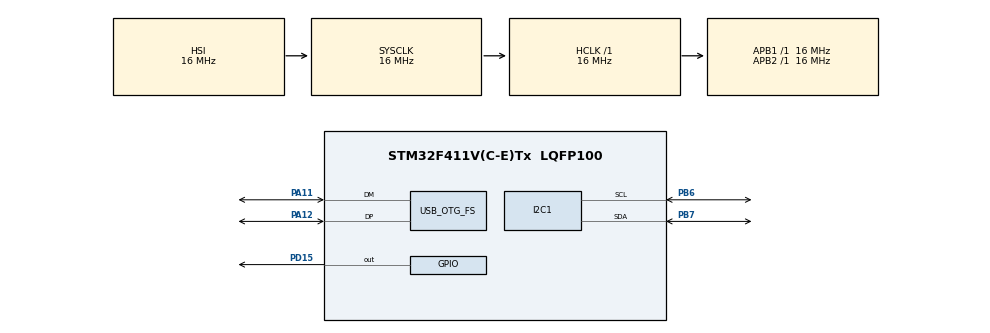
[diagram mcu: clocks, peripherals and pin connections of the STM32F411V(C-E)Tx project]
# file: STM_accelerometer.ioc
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I2C1.DutyCycle=I2C_DUTYCYCLE_16_9
I2C1.I2C_Mode=I2C_Fast
Mcu.Family=STM32F4
Mcu.Name=STM32F411V(C-E)Tx
Mcu.Package=LQFP100
NVIC.OTG_FS_IRQn=true\:0\:0\:false\:false\:true\:false\:true\:true
NVIC.PriorityGroup=NVIC_PRIORITYGROUP_4
PA11.Mode=Device_Only
PA11.Signal=USB_OTG_FS_DM
PA12.Mode=Device_Only
PA12.Signal=USB_OTG_FS_DP
PB6.Mode=I2C
PB6.Signal=I2C1_SCL
PB7.Mode=I2C
PB7.Signal=I2C1_SDA
PC14-OSC32_IN.Mode=LSE-External-Oscillator
PC14-OSC32_IN.Signal=RCC_OSC32_IN
PC15-OSC32_OUT.Mode=LSE-External-Oscillator
PC15-OSC32_OUT.Signal=RCC_OSC32_OUT
PD15.Signal=GPIO_Output
PH0\ -\ OSC_IN.Mode=HSE-External-Oscillator
PH0\ -\ OSC_IN.Signal=RCC_OSC_IN
PH1\ -\ OSC_OUT.Mode=HSE-External-Oscillator
PH1\ -\ OSC_OUT.Signal=RCC_OSC_OUT
ProjectManager.HeapSize=0x200
ProjectManager.StackSize=0x400
ProjectManager.TargetToolchain=STM32CubeIDE
RCC.AHBFreq_Value=16000000
RCC.APB1Freq_Value=16000000
RCC.APB2Freq_Value=16000000
RCC.CortexFreq_Value=16000000
RCC.HSE_VALUE=25000000
RCC.HSI_VALUE=16000000
RCC.PLLSourceVirtualString=RCC_PLLSOURCE_HSI
RCC.SYSCLKFreq_VALUE=16000000
RCC.VCOOutputFreq_Value=192000000
USB_DEVICE.CLASS_NAME_FS=CDC
USB_DEVICE.PRODUCT_STRING_CDC_FS=STM_accelerometer
USB_DEVICE.VirtualMode=Cdc
USB_DEVICE.VirtualModeFS=Cdc_FS
USB_OTG_FS.VirtualMode=Device_Only
VP_USB_DEVICE_VS_USB_DEVICE_CDC_FS.Mode=CDC_FS
board=custom

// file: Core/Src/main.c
/* USER CODE BEGIN Header */
/**
  ******************************************************************************
  * @file           : main.c
  * @brief          : Main program body
  ******************************************************************************
  * @attention
  *
  * Copyright (c) 2024 STMicroelectronics.
  * All rights reserved.
  *
  * This software is licensed under terms that can be found in the LICENSE file
  * in the root directory of this software component.
  * If no LICENSE file comes with this software, it is provided AS-IS.
  *
  ******************************************************************************
  */
/* USER CODE END Header */
#include "main.h"
#include "usb_device.h"

I2C_HandleTypeDef hi2c1;

void SystemClock_Config(void);
static void MX_GPIO_Init(void);
static void MX_I2C1_Init(void);
/* USER CODE BEGIN PFP */

uint8_t i2c1_pisiRegister(uint8_t, uint8_t, uint8_t);
void i2c1_beriRegistre(uint8_t, uint8_t, uint8_t*, uint8_t);
void initOrientation(void);

/* USER CODE END PFP */

/* USER CODE BEGIN 0 */

uint8_t i2c1_pisiRegister(uint8_t naprava, uint8_t reg, uint8_t podatek) {
    naprava <<= 1;
    return HAL_I2C_Mem_Write(&hi2c1, naprava, reg, I2C_MEMADD_SIZE_8BIT, &podatek, 1, 10);
}

void i2c1_beriRegistre(uint8_t naprava, uint8_t reg, uint8_t* podatek, uint8_t dolzina) {
    if ((dolzina>1)&&(naprava==0x19))  // ce je naprava 0x19 moramo postaviti ta bit, ce zelimo brati vec zlogov
        reg |= 0x80;
    naprava <<= 1;
    HAL_I2C_Mem_Read(&hi2c1, naprava, reg, I2C_MEMADD_SIZE_8BIT, podatek, dolzina, dolzina);
}

void initOrientation() { // ne pozabit klicati te funkcije
    // inicializiraj pospeskometer
    i2c1_pisiRegister(0x19, 0x20, 0x27);  // zbudi pospeskometer in omogoci osi
    i2c1_pisiRegister(0x19, 0x23, 0x88);  // nastavi posodobitev samo ko se prebere vrednost ter visoko locljivost
}

/* USER CODE END 0 */

int main(void)
{

  /* MCU Configuration--------------------------------------------------------*/

  /* Reset of all peripherals, Initializes the Flash interface and the Systick. */
  HAL_Init();

  /* Configure the system clock */
  SystemClock_Config();

  /* Initialize all configured peripherals */
  MX_GPIO_Init();
  MX_I2C1_Init();
  MX_USB_DEVICE_Init();
  /* USER CODE BEGIN 2 */

  __HAL_I2C_ENABLE(&hi2c1);

  int16_t meritev[4];
  meritev[0] = 0xaaab;// glava za zaznamek zacetek paketa

  initOrientation();

  /* USER CODE END 2 */

  /* Infinite loop */
  /* USER CODE BEGIN WHILE */
  while (1)
  {
	  HAL_Delay(100);

	  i2c1_beriRegistre(0x19, 0x28,(uint8_t*)&meritev[1], 6);

	  CDC_Transmit_FS((uint8_t*)&meritev, 8);

	  HAL_GPIO_TogglePin(GPIOD, GPIO_PIN_15);
    /* USER CODE END WHILE */

  }
}

void SystemClock_Config(void)
{
  RCC_OscInitTypeDef RCC_OscInitStruct = {0};
  RCC_ClkInitTypeDef RCC_ClkInitStruct = {0};

  /** Configure the main internal regulator output voltage
  */
  __HAL_RCC_PWR_CLK_ENABLE();
  __HAL_PWR_VOLTAGESCALING_CONFIG(PWR_REGULATOR_VOLTAGE_SCALE1);

  /** Initializes the RCC Oscillators according to the specified parameters
  * in the RCC_OscInitTypeDef structure.
  */
  RCC_OscInitStruct.OscillatorType = RCC_OSCILLATORTYPE_HSI;
  RCC_OscInitStruct.HSIState = RCC_HSI_ON;
  RCC_OscInitStruct.HSICalibrationValue = RCC_HSICALIBRATION_DEFAULT;
  RCC_OscInitStruct.PLL.PLLState = RCC_PLL_ON;
  RCC_OscInitStruct.PLL.PLLSource = RCC_PLLSOURCE_HSI;
  RCC_OscInitStruct.PLL.PLLM = 16;
  RCC_OscInitStruct.PLL.PLLN = 192;
  RCC_OscInitStruct.PLL.PLLP = RCC_PLLP_DIV2;
  RCC_OscInitStruct.PLL.PLLQ = 4;
  if (HAL_RCC_OscConfig(&RCC_OscInitStruct) != HAL_OK)
  {
    Error_Handler();
  }

  /** Initializes the CPU, AHB and APB buses clocks
  */
  RCC_ClkInitStruct.ClockType = RCC_CLOCKTYPE_HCLK|RCC_CLOCKTYPE_SYSCLK
                              |RCC_CLOCKTYPE_PCLK1|RCC_CLOCKTYPE_PCLK2;
  RCC_ClkInitStruct.SYSCLKSource = RCC_SYSCLKSOURCE_HSI;
  RCC_ClkInitStruct.AHBCLKDivider = RCC_SYSCLK_DIV1;
  RCC_ClkInitStruct.APB1CLKDivider = RCC_HCLK_DIV1;
  RCC_ClkInitStruct.APB2CLKDivider = RCC_HCLK_DIV1;

  if (HAL_RCC_ClockConfig(&RCC_ClkInitStruct, FLASH_LATENCY_0) != HAL_OK)
  {
    Error_Handler();
  }
}

static void MX_I2C1_Init(void)
{

  hi2c1.Instance = I2C1;
  hi2c1.Init.ClockSpeed = 400000;
  hi2c1.Init.DutyCycle = I2C_DUTYCYCLE_16_9;
  hi2c1.Init.OwnAddress1 = 0;
  hi2c1.Init.AddressingMode = I2C_ADDRESSINGMODE_7BIT;
  hi2c1.Init.DualAddressMode = I2C_DUALADDRESS_DISABLE;
  hi2c1.Init.OwnAddress2 = 0;
  hi2c1.Init.GeneralCallMode = I2C_GENERALCALL_DISABLE;
  hi2c1.Init.NoStretchMode = I2C_NOSTRETCH_DISABLE;
  if (HAL_I2C_Init(&hi2c1) != HAL_OK)
  {
    Error_Handler();
  }

}

static void MX_GPIO_Init(void)
{
  GPIO_InitTypeDef GPIO_InitStruct = {0};

  /* GPIO Ports Clock Enable */
  __HAL_RCC_GPIOC_CLK_ENABLE();
  __HAL_RCC_GPIOH_CLK_ENABLE();
  __HAL_RCC_GPIOD_CLK_ENABLE();
  __HAL_RCC_GPIOA_CLK_ENABLE();
  __HAL_RCC_GPIOB_CLK_ENABLE();

  /*Configure GPIO pin Output Level */
  HAL_GPIO_WritePin(GPIOD, GPIO_PIN_15, GPIO_PIN_RESET);

  /*Configure GPIO pin : PD15 */
  GPIO_InitStruct.Pin = GPIO_PIN_15;
  GPIO_InitStruct.Mode = GPIO_MODE_OUTPUT_PP;
  GPIO_InitStruct.Pull = GPIO_NOPULL;
  GPIO_InitStruct.Speed = GPIO_SPEED_FREQ_LOW;
  HAL_GPIO_Init(GPIOD, &GPIO_InitStruct);

}

void Error_Handler(void)
{
  __disable_irq();
  while (1)
  {
  }
}
